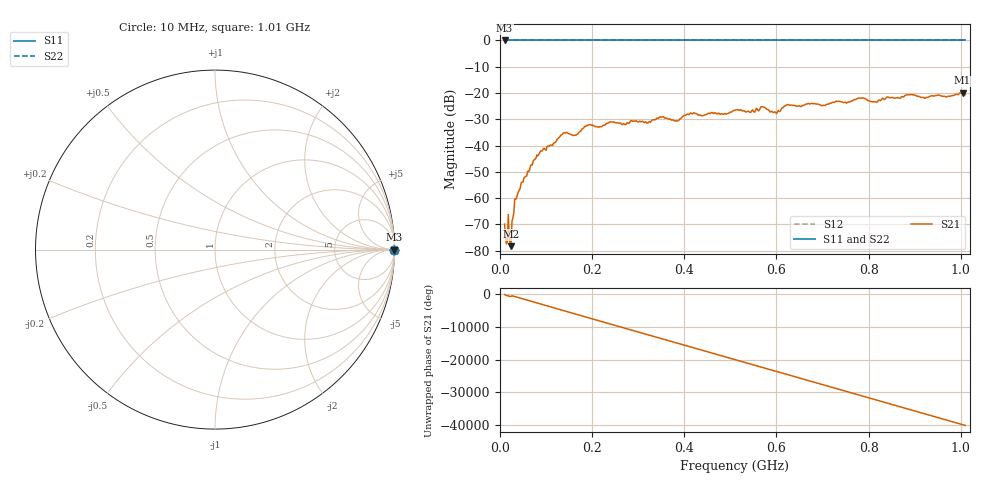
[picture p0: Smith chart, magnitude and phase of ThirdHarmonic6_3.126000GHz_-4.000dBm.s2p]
! 8/17/2025 9:17:24 AM
! C:\ANRITSUVNA\TEMP\TEMP.S2P
! CHANNEL.1
! TR.MEASUREMENT
! RAW.DATA
! RF.CORRECTION.OFF
! AVERAGING.OFF
! IF.BANDWIDTH: 5KHZ
! SWEEPTYPE:  FREQ.SWEEP(Linear)
! Reference Plane Port Info
! PORT:  PORT1  PORT2
! DISTANCE:  0  m  0  m
! TIME:  0  s  0  s
! PHASE.OFFSET:  0  deg.  0  deg.
! LOSS:  0  dB  0  dB
! REF.LOSS:  0  dB  0  dB
! REF.FREQ:  0  Hz  0  Hz
! Power Info
! POWER:  -20  dBm  -20  dBm
! EFF.POWER:  -20  dBm  -20  dBm
! SOURCE.ATTEN:  0  dB  0  dB
! TEST.ATTEN:  0  dB  0  dB
# GHZ S RI R 50.0
! FREQ.GHZ  S11RE  S11IM  S21RE  S21IM  S12RE  S12IM  S22RE  S22IM
!; PortSelection: Port_12
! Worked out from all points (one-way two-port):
!   501 points, 10 MHz to 1.01 GHz, reference 50 ohm
!   highest |S21| = -19.94 dB at 1.004 GHz (marker M1); lowest = -78.3 dB at 24 MHz (marker M2)
!   lowest |S11| = 0.0 dB at 10 MHz (marker M3)
!   |S11| at or under -10 dB: nowhere
!   |S22| runs from 0.0 to 0.0 dB; largest |S21 - S12| = 1.1
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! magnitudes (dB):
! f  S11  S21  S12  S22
! 10 MHz  0.0  -69.9  0.0  0.0
! 20 MHz  0.0  -75.1  0.0  0.0
! 24 MHz  0.0  -78.3  0.0  0.0
! 30 MHz  0.0  -65.7  0.0  0.0
! 36 MHz  0.0  -59.8  0.0  0.0
! 76 MHz  0.0  -45.2  0.0  0.0
! 136 MHz  0.0  -35.6  0.0  0.0
! 162 MHz  0.0  -36.1  0.0  0.0
! 178 MHz  0.0  -33.7  0.0  0.0
! 192 MHz  0.0  -32.2  0.0  0.0
! 322 MHz  0.0  -31.3  0.0  0.0
! 344 MHz  0.0  -29.7  0.0  0.0
! 384 MHz  0.0  -30.6  0.0  0.0
! 416 MHz  0.0  -27.9  0.0  0.0
! 510 MHz  0.0  -26.6  0.0  0.0
! 570 MHz  0.0  -25.3  0.0  0.0
! 598 MHz  0.0  -27.3  0.0  0.0
! 622 MHz  0.0  -24.6  0.0  0.0
! 678 MHz  0.0  -24.0  0.0  0.0
! 844 MHz  0.0  -21.7  0.0  0.0
! 1.004 GHz  0.0  -19.9  0.0  0.0
! 1.01 GHz  0.0  -20.6  0.0  0.0
